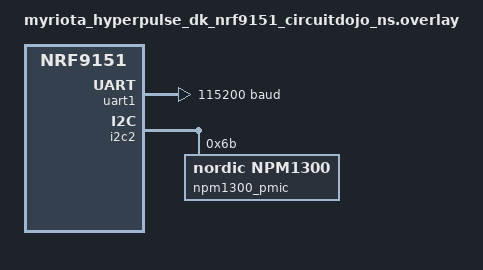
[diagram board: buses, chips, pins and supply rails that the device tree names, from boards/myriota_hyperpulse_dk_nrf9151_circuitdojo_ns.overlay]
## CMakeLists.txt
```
# Copyright (c) 2024-2025, Myriota Pty Ltd, All Rights Reserved

cmake_minimum_required(VERSION 3.20.0)

list(APPEND OVERLAY_CONFIG
     $ENV{ZEPHYR_BASE}/../modules/lib/myriota-hyperpulse/lib/config/nrf91_soc.conf)

find_package(Zephyr REQUIRED HINTS $ENV{ZEPHYR_BASE})
set(CMAKE_EXPORT_COMPILE_COMMANDS ON)

project(at_modem)

# Application sources
file(GLOB app_sources src/main.c src/modem_at_host.c src/modem.c)
target_sources(app PRIVATE ${app_sources})

include_directories(include)
```

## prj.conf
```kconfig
# Common configuration file across targets

# Enable Module
CONFIG_HYPERPULSE=y
CONFIG_HYPERPULSE_AUTO_LIB_INIT=n

# Logging
CONFIG_LOG=y
CONFIG_LOG_PRINTK=y
CONFIG_LOG_DEFAULT_LEVEL=3
CONFIG_LOG_BUFFER_SIZE=10240
CONFIG_LOG_BACKEND_UART=y
CONFIG_LOG_TIMESTAMP_64BIT=y
CONFIG_LOG_RUNTIME_FILTERING=y
CONFIG_NCS_BOOT_BANNER=n

CONFIG_LED=y
CONFIG_LED_GPIO=y

CONFIG_SERIAL=y
CONFIG_CONSOLE=y
CONFIG_UART_CONSOLE=y
CONFIG_UART_LINE_CTRL=y
CONFIG_UART_INTERRUPT_DRIVEN=y

CONFIG_PM_DEVICE=y

# Disable file system logging
CONFIG_FS_LOG_LEVEL_OFF=y

CONFIG_TFM_LOG_LEVEL_SILENCE=y

CONFIG_MAIN_STACK_SIZE=4096
CONFIG_SYSTEM_WORKQUEUE_STACK_SIZE=4096

CONFIG_STATIC_INIT_GNU=y
```

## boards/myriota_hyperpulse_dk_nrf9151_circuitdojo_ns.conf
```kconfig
# Pmic LED driver
CONFIG_LED_NPM1300=y
CONFIG_LED_GPIO=n

# GPS Antenna configuration
CONFIG_MODEM_ANTENNA=y
CONFIG_MODEM_ANTENNA_AT_COEX0="AT\%XCOEX0=1,1,1565,1586"

# Add the accelerometer
CONFIG_I2C=y
CONFIG_SENSOR=y
CONFIG_LIS2DH=y
CONFIG_LIS2DH_TRIGGER_GLOBAL_THREAD=y
CONFIG_LIS2DH_ODR_RUNTIME=y

# Regulator control
CONFIG_REGULATOR=y
CONFIG_REGULATOR_NPM1300=y
```

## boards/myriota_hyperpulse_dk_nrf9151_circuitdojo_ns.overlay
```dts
// Disabling uart rx pin to get low power
&uart1 {
    disable-rx;
};

/ {
	chosen {
		zephyr,console = &uart1;
		modem,at-host-uart = &uart0;
	};

	aliases {
		led0 = &npm1300_led;
		led1 = &npm1300_led;
		led3 = &npm1300_led;
	};
};

&i2c2 {
	npm1300_pmic: pmic@6b {
		compatible = "nordic,npm1300";
		reg = <0x6b>;

		npm1300_led: leds {
			compatible = "nordic,npm1300-led";
			nordic,led0-mode = "host";
			nordic,led1-mode = "host";
			nordic,led2-mode = "host";
		};
	};
};

&uart1 {
	status = "okay";
	current-speed = <115200>;
	pinctrl-0 = <&uart1_default>;
	pinctrl-1 = <&uart1_sleep>;
	pinctrl-names = "default", "sleep";
};
```

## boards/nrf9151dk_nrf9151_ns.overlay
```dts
// Disabling uart1 rx pin to get low power
&uart1 {
    disable-rx;
};

/ {
	chosen {
		zephyr,console = &uart1;
		modem,at-host-uart = &uart0;
	};
};

&uart1 {
	status = "okay";
	current-speed = <115200>;
	pinctrl-0 = <&uart1_default>;
	pinctrl-1 = <&uart1_sleep>;
	pinctrl-names = "default", "sleep";
};
```

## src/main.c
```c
/****************************************************************
 * Copyright (c) 2025-2026, Myriota Pty Ltd, All Rights Reserved
 * @file  main.c
 * @brief Entry point for application
 *
 * SPDX-License-Identifier: BSD-3-Clause-Attribution
 *
 * This file is licensed under the BSD with attribution  (the "License"); you
 * may not use these files except in compliance with the License.
 *
 * You may obtain a copy of the License here:
 * LICENSE-BSD-3-Clause-Attribution.txt and at
 * https://spdx.org/licenses/BSD-3-Clause-Attribution.html
 *
 * See the License for the specific language governing permissions and
 * limitations under the License.
 *****************************************************************/
#include <string.h>
#include <stdio.h>

#include <zephyr/kernel.h>
#include <zephyr/logging/log.h>
#include <zephyr/sys/printk.h>
#include <app_version.h>

#include "git_version.h"
#include "hyperpulse_lib.h"
#include "modem_at_host.h"
#include "modem.h"

LOG_MODULE_REGISTER(serial_ntn_modem, LOG_LEVEL_INF);

int main(void)
{
	printk("HyperPulse AT Modem Application: v%s\n", APP_VERSION_STRING);

	// Initialise HyperPulse library
	int err = hyperpulse_lib_init();
	if (err != 0) {
		printk("Failed to initialise HyperPulse library (err: %d)", err);
		return 0;
	}

	err = modem_enable_downlink_message_notification();
	if (err != 0) {
		printk("Failed to enable downlink message notifications (err: %d)", err);
	}

	// Initialise AT Host
	err = modem_at_host_init();
	if (err != 0) {
		printk("Failed to initialise AT host (err: %d)", err);
		return 0;
	}

	for (;;) {
		k_sleep(K_FOREVER);
	}

	return 0;
}
```

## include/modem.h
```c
/****************************************************************
 * Copyright (c) 2025, Myriota Pty Ltd, All Rights Reserved
 * @file  modem.h
 * @brief Helper functions for interacting with the HyperPulse library.
 *
 * SPDX-License-Identifier: BSD-3-Clause-Attribution
 *
 * This file is licensed under the BSD with attribution  (the "License"); you
 * may not use these files except in compliance with the License.
 *
 * You may obtain a copy of the License here:
 * LICENSE-BSD-3-Clause-Attribution.txt and at
 * https://spdx.org/licenses/BSD-3-Clause-Attribution.html
 *
 * See the License for the specific language governing permissions and
 * limitations under the License.
 *****************************************************************/
#include <time.h>
#include <stdint.h>

#ifndef MODEM_H
#define MODEM_H

/**
 * @brief Maximum buffer size in bytes for storing an AT command response
 */
#define MODEM_AT_CMD_RESPONSE_BUF_SIZE 550

/**
 * @brief Enable downlink message notifications.
 * Downlink messages are received as Unsolicited Response Code (URC)
 * and can be retrieved through \p hyperpulse_lib_unsolicited_at_response_app_handler
 * @return 0 on success, negative on failure
 */
int32_t modem_enable_downlink_message_notification(void);

#endif
```

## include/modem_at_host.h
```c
/****************************************************************
 * Copyright (c) 2025, Myriota Pty Ltd, All Rights Reserved
 * @file  modem_at_host.h
 * @brief AT Host Interface for the HyperPulse library
 *
 * SPDX-License-Identifier: BSD-3-Clause-Attribution
 *
 * This file is licensed under the BSD with attribution  (the "License"); you
 * may not use these files except in compliance with the License.
 *
 * You may obtain a copy of the License here:
 * LICENSE-BSD-3-Clause-Attribution.txt and at
 * https://spdx.org/licenses/BSD-3-Clause-Attribution.html
 *
 * See the License for the specific language governing permissions and
 * limitations under the License.
 *****************************************************************/
#ifndef MODEM_AT_HOST_H
#define MODEM_AT_HOST_H

/**
 * @brief Initialize the AT host interface.
 *
 * Sets up the AT host interface, UART configuration, RX handling,
 * and prepares the interface to process AT commands and responses.
 *
 * @return  0        Initialization successful.
 * @return -EFAULT   UART setup failed.
 * @return -EINVAL   Invalid configuration detected.
 */
int modem_at_host_init(void);

#endif
```

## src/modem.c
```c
/****************************************************************
 * Copyright (c) 2025, Myriota Pty Ltd, All Rights Reserved
 * @file  modem.c
 * @brief Helper functions for interacting with the HyperPulse library.
 *
 * SPDX-License-Identifier: BSD-3-Clause-Attribution
 *
 * This file is licensed under the BSD with attribution  (the "License"); you
 * may not use these files except in compliance with the License.
 *
 * You may obtain a copy of the License here:
 * LICENSE-BSD-3-Clause-Attribution.txt and at
 * https://spdx.org/licenses/BSD-3-Clause-Attribution.html
 *
 * See the License for the specific language governing permissions and
 * limitations under the License.
 *****************************************************************/
#include <zephyr/kernel.h>
#include <zephyr/logging/log.h>

#include "modem.h"
#include "hyperpulse_lib.h"

LOG_MODULE_REGISTER(modem, LOG_LEVEL_INF);

static int send_at_command_check_ok(const char *cmd)
{
	char response[MODEM_AT_CMD_RESPONSE_BUF_SIZE] = {0};
	hyperpulse_lib_send_at_command(cmd, response, sizeof(response));

	if (strstr(response, "OK") == NULL) {
		LOG_ERR("AT command failed: %s", cmd);
		return -EIO;
	}

	return 0;
}

int32_t modem_enable_downlink_message_notification(void)
{
	// Enable downlink message notification unsolicited result code (URC).
	return send_at_command_check_ok("AT#MRECV=1");
}

// Initialization of AUX pin
#if defined(CONFIG_BOARD_CIRCUITDOJO_FEATHER_NRF9151) || \
	defined(CONFIG_BOARD_MYRIOTA_HYPERPULSE_DK_NRF9151_CIRCUITDOJO_NS)
#include <modem/nrf_modem_lib.h>

#define AUXANTCFG_ENABLE "AT\%XANTCFG=1"

NRF_MODEM_LIB_ON_INIT(aux_init_hook, on_modem_lib_init, NULL);

static void on_modem_lib_init(int ret, void *ctx)
{
	ARG_UNUSED(ctx);

	if (ret != 0) {
		return;
	}

	printk("*** Setting antenna configuration: %s ***\n", AUXANTCFG_ENABLE);
	int err = send_at_command_check_ok(AUXANTCFG_ENABLE);
	if (err != 0) {
		LOG_ERR("Failed to set configuration (err: %d)", err);
	}
}
#endif
```

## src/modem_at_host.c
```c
/****************************************************************
 * Copyright (c) 2025, Myriota Pty Ltd, All Rights Reserved
 * @file  modem_at_host.c
 * @brief AT Host Interface for the HyperPulse library
 *
 * SPDX-License-Identifier: BSD-3-Clause-Attribution
 *
 * This file is licensed under the BSD with attribution  (the "License"); you
 * may not use these files except in compliance with the License.
 *
 * You may obtain a copy of the License here:
 * LICENSE-BSD-3-Clause-Attribution.txt and at
 * https://spdx.org/licenses/BSD-3-Clause-Attribution.html
 *
 * See the License for the specific language governing permissions and
 * limitations under the License.
 *****************************************************************/
#include <string.h>
#include <stdio.h>

#include <zephyr/kernel.h>
#include <zephyr/logging/log.h>
#include <zephyr/device.h>
#include <zephyr/drivers/uart.h>

#include "hyperpulse_lib.h"
#include "modem_at_host.h"

#define MODEM_AT_HOST_UART_INIT_TIMEOUT_MS 500
#define MODEM_AT_HOST_CMD_MAX_LEN          600
#define MODEM_AT_HOST_THREAD_PRIO          10
#define MODEM_AT_HOST_STACK_SIZE           5210

LOG_MODULE_REGISTER(modem_at_host, LOG_LEVEL_INF);

/* Stack definition for AT host workqueue */
K_THREAD_STACK_DEFINE(hp_at_host_stack_area, MODEM_AT_HOST_STACK_SIZE);

/* Maximum AT command message size */
#define AT_BUF_SIZE MODEM_AT_HOST_CMD_MAX_LEN

/*
The interface will use uart0 by default. However, modem,at-host-uart choice in devicetree can
be used to change the UART device
*/
#define AT_HOST_UART_DEV_GET() \
	DEVICE_DT_GET(COND_CODE_1(DT_HAS_CHOSEN(modem_at_host_uart), \
				  (DT_CHOSEN(modem_at_host_uart)), (DT_NODELABEL(uart0))))

#define IS_LOG_BACKEND_UART(_uart_dev) \
	(IS_ENABLED(CONFIG_LOG_BACKEND_UART) && \
	 COND_CODE_1( \
		 DT_HAS_CHOSEN(zephyr_log_uart), \
		 (_uart_dev == DEVICE_DT_GET(DT_CHOSEN(zephyr_log_uart))), \
		 (COND_CODE_1(DT_HAS_CHOSEN(zephyr_console), \
			      (_uart_dev == DEVICE_DT_GET(DT_CHOSEN(zephyr_console))), (false)))))

static const struct device *uart_dev = AT_HOST_UART_DEV_GET();
static bool at_buf_busy;         /* Guards at_buf while processing a command */
static char at_buf[AT_BUF_SIZE]; /* AT command and modem response buffer */
static struct k_work_q at_host_work_q;
static struct k_work cmd_send_work;

static inline void write_uart_string(const char *const str)
{
	if (IS_LOG_BACKEND_UART(uart_dev)) {
		/* The chosen AT host UART device is also the UART log backend device.
		 * Therefore, log the AT response instead of writing directly to the UART device.
		 */
		LOG_RAW("%s", str);
		return;
	}

	/* Send characters until, but not including, null */
	for (size_t i = 0; str[i]; i++) {
		uart_poll_out(uart_dev, str[i]);
	}
}

static void cmd_send(struct k_work *work)
{
	int err;

	ARG_UNUSED(work);
	char response_buf[600];

	err = hyperpulse_lib_send_at_command(at_buf, response_buf, AT_BUF_SIZE);
	if (err < 0) {
		LOG_ERR("Error while processing AT command: %d", err);
	}

	write_uart_string(response_buf);

	at_buf_busy = false;
	uart_irq_rx_enable(uart_dev);
}

static void uart_rx_handler(uint8_t character)
{
	static bool inside_quotes;
	static size_t at_cmd_len;

	/* Handle control characters */
	switch (character) {
	/* Backspace and DEL character */
	case 0x08:
	case 0x7F:
		if (at_cmd_len > 0) {
			at_cmd_len--;
		}
		return;
	}

	/* Handle termination characters, if outside quotes. */
	if ((!inside_quotes) && (character == '\r')) {
		goto send;
	}

	/* Detect AT command buffer overflow, leaving space for null */
	if (at_cmd_len + 1 > sizeof(at_buf) - 1) {
		LOG_ERR("Buffer overflow, dropping '%c'\n", character);
		return;
	}

	/* Write character to AT buffer */
	at_buf[at_cmd_len] = character;
	at_cmd_len++;

	/* Handle special written character */
	if (character == '"') {
		inside_quotes = !inside_quotes;
	}

	return;
send:
	/* Terminate the command string */
	at_buf[at_cmd_len] = '\0';

	/* Reset UART handler state */
	inside_quotes = false;
	at_cmd_len = 0;

	/* Check for the presence of one printable non-whitespace character */
	for (const char *c = at_buf;; c++) {
		if (*c > ' ') {
			break;
		} else if (*c == '\0') {
			/* Drop command, if it has no such character */
			return;
		}
	}

	/* Send the command, if there is one to send */
	if (at_buf[0]) {
		/* Stop UART to protect at_buf */
		uart_irq_rx_disable(uart_dev);
		at_buf_busy = true;
		k_work_submit_to_queue(&at_host_work_q, &cmd_send_work);
	}
}

static void isr(const struct device *dev, void *user_data)
{
	ARG_UNUSED(user_data);

	uint8_t character;

	uart_irq_update(dev);

	if (!uart_irq_rx_ready(dev)) {
		return;
	}

	/*
	 * Check that we are not sending data (buffer must be preserved then),
	 * and that a new character is available before handling each character
	 */
	while ((!at_buf_busy) && (uart_fifo_read(dev, &character, 1))) {
		uart_rx_handler(character);
	}
}

static int at_uart_init(const struct device *uart_dev)
{
	int err;
	uint8_t dummy;

	if (!device_is_ready(uart_dev)) {
		LOG_ERR("UART device not ready");
		return -ENODEV;
	}

	uint32_t start_time = k_uptime_get_32();

	/* Wait for the UART line to become valid */
	do {
		err = uart_err_check(uart_dev);
		if (err) {
			if (k_uptime_get_32() - start_time > MODEM_AT_HOST_UART_INIT_TIMEOUT_MS) {
				LOG_ERR("UART check failed: %d. "
					"UART initialization timed out.",
					err);
				return -EIO;
			}

			LOG_INF("UART check failed: %d. "
				"Dropping buffer and retrying.",
				err);

			while (uart_fifo_read(uart_dev, &dummy, 1)) {
				/* Do nothing with the data */
			}
			k_sleep(K_MSEC(10));
		}
	} while (err);

	uart_irq_callback_set(uart_dev, isr);
	return err;
}

int modem_at_host_init(void)
{
	/* Initialize the UART module */
	int err = at_uart_init(uart_dev);
	if (err) {
		LOG_ERR("UART could not be initialized: %d", err);
		return -EFAULT;
	}

	k_work_init(&cmd_send_work, cmd_send);
	k_work_queue_start(&at_host_work_q, hp_at_host_stack_area,
			   K_THREAD_STACK_SIZEOF(hp_at_host_stack_area), MODEM_AT_HOST_THREAD_PRIO,
			   NULL);
	uart_irq_rx_enable(uart_dev);

	/* Signal ready */
	write_uart_string((char *)"Ready\r\n");

	return 0;
}

void hyperpulse_lib_unsolicited_at_response_app_handler(const char *const data)
{
	write_uart_string(data);
}
```
